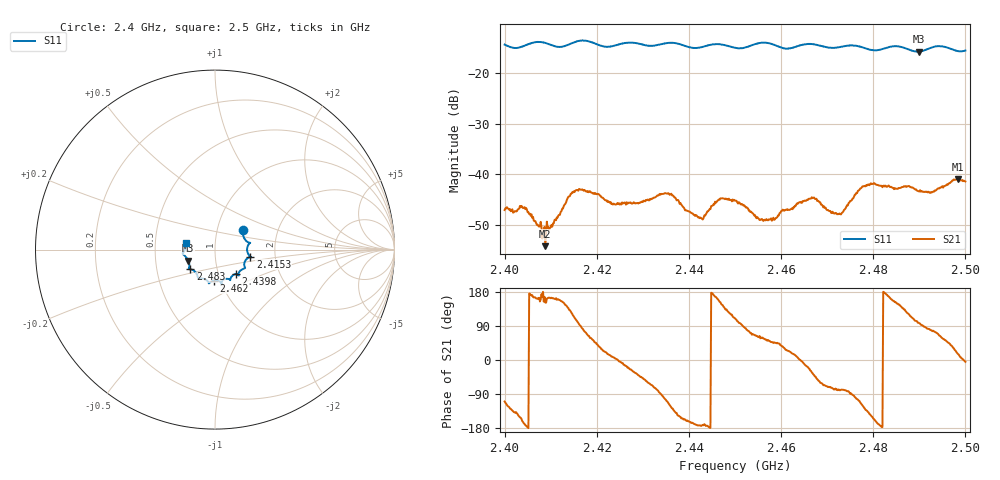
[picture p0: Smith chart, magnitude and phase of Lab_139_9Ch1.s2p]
# Hz S RI R 50
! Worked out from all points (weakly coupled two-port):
!   601 points, 2.4 GHz to 2.5 GHz, reference 50 ohm
!   highest |S21| = -40.87 dB at 2.4983 GHz (marker M1); lowest = -54.1 dB at 2.4088 GHz (marker M2)
!   lowest |S11| = -15.9 dB at 2.4898 GHz (marker M3), VSWR 1.38, Z = 36.8 - j4.61 ohm
!   |S11| at or under -10 dB: start of sweep to end of sweep
!   S12 and S22 are empty: the file has one direction only
!   S11 on the Smith chart (normalised r, x): 2.4 GHz: 1.33, +0.29; 2.4153 GHz: 1.48, -0.12; 2.4398 GHz: 1.21, -0.34; 2.462 GHz: 0.93, -0.33; 2.483 GHz: 0.74, -0.17; 2.5 GHz: 0.72, +0.06
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2.4e9  0.155 0.1066  -0.00149 -0.00422  0 0  0 0
2.404167e9  0.1767 0.0464  -0.00459 -0.00104  0 0  0 0
2.408833e9  0.1924 0.0349  -0.00174 0.000936  0 0  0 0
2.415333e9  0.1964 -0.0388  -0.00227 0.00654  0 0  0 0
2.416667e9  0.2021 -0.0429  0.000468 0.00706  0 0  0 0
2.423667e9  0.1628 -0.0836  0.00514 0.000586  0 0  0 0
2.433333e9  0.1312 -0.1338  0.000911 -0.00614  0 0  0 0
2.436e9  0.1323 -0.1448  -0.00335 -0.00544  0 0  0 0
2.439833e9  0.1152 -0.1363  -0.00414 -0.00136  0 0  0 0
2.442667e9  0.0911 -0.1522  -0.00371 -0.000393  0 0  0 0
2.446667e9  0.0848 -0.17  -0.00506 0.00252  0 0  0 0
2.45e9  0.0648 -0.1628  -0.00188 0.00522  0 0  0 0
2.455833e9  0.0378 -0.1929  0.00192 0.00312  0 0  0 0
2.462e9  -0.00516 -0.173  0.00422 0.00165  0 0  0 0
2.466667e9  -0.0343 -0.1876  0.00502 -0.00323  0 0  0 0
2.472667e9  -0.0767 -0.1604  0.000735 -0.00407  0 0  0 0
2.477667e9  -0.0977 -0.1477  -0.00374 -0.00666  0 0  0 0
2.483e9  -0.1374 -0.1095  -0.0075 0.00105  0 0  0 0
2.483333e9  -0.1401 -0.1093  -0.00763 0.00162  0 0  0 0
2.489833e9  -0.1483 -0.061  -0.000984 0.00677  0 0  0 0
2.498333e9  -0.1622 0.0106  0.00867 0.00257  0 0  0 0
2.5e9  -0.1598 0.0392  0.00851 -0.000714  0 0  0 0
